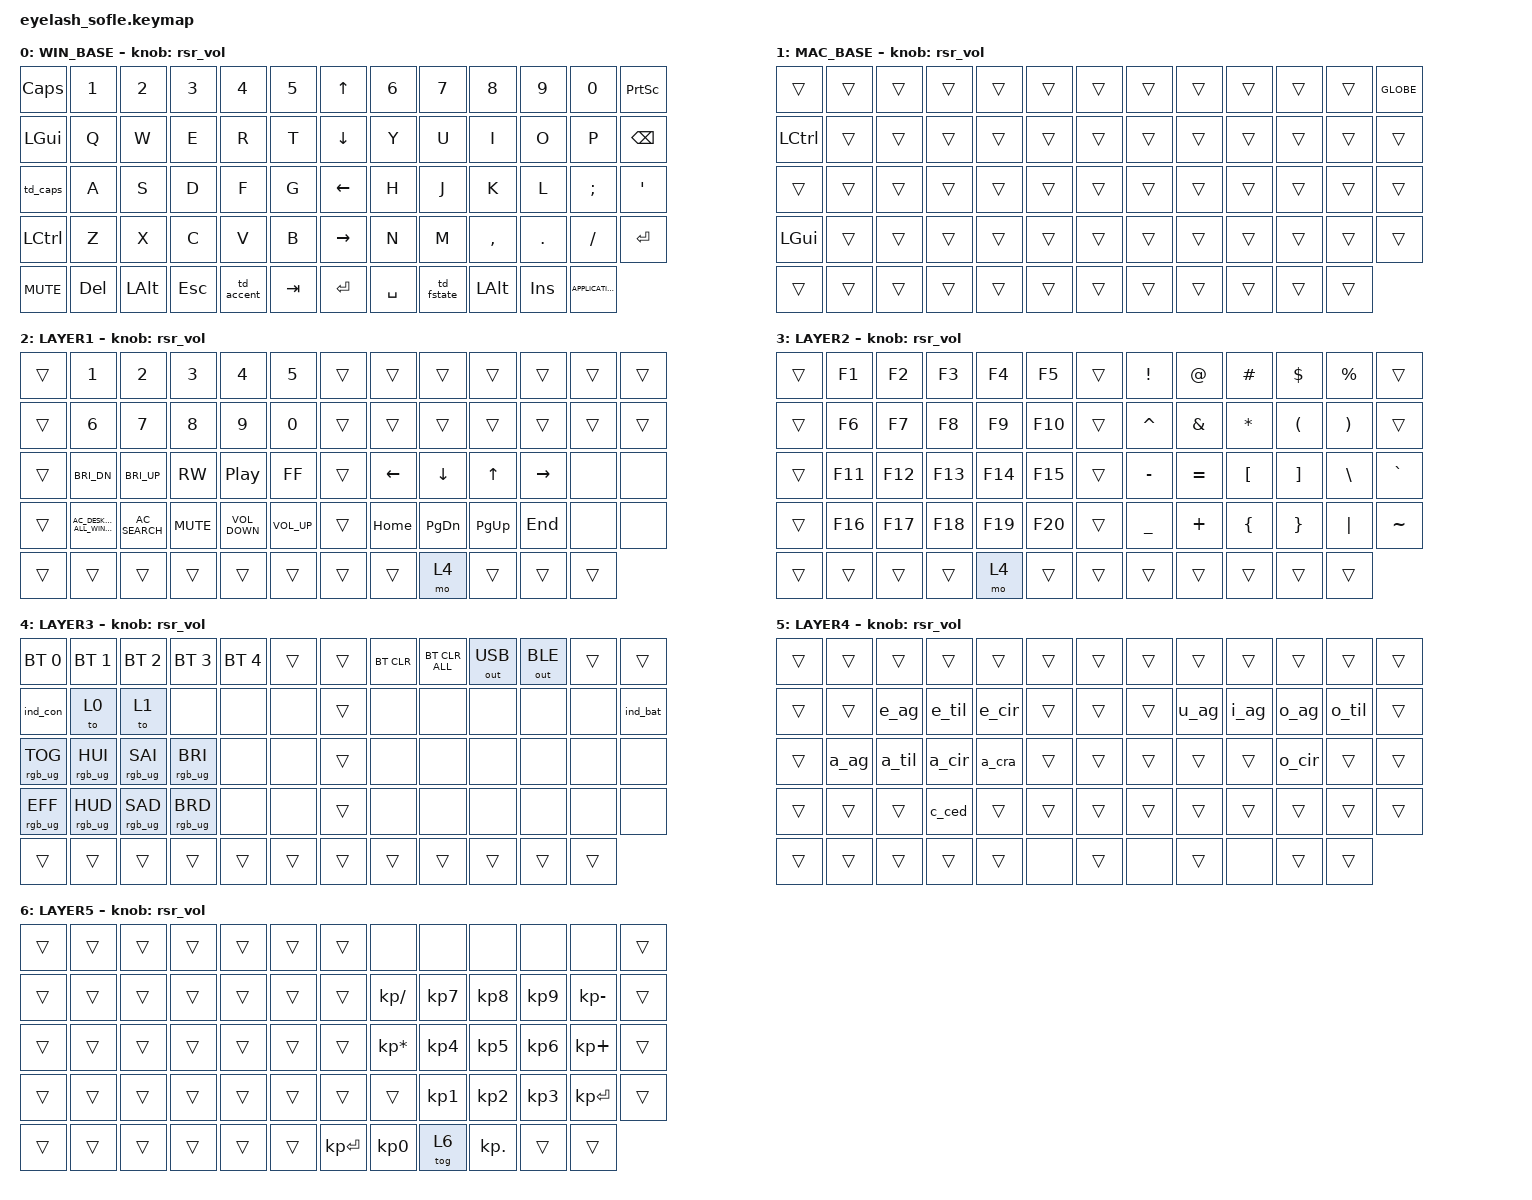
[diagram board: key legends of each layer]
#define ZMK_POINTING_DEFAULT_MOVE_VAL 1200  // 600
#define ZMK_POINTING_DEFAULT_SCRL_VAL 25   // 10

#include <input/processors.dtsi>
#include <zephyr/dt-bindings/input/input-event-codes.h>
#include <behaviors.dtsi>
#include <behaviors/runtime-sensor-rotate.dtsi>
#include <dt-bindings/zmk/bt.h>
#include <dt-bindings/zmk/keys.h>
#include <dt-bindings/zmk/outputs.h>
#include <dt-bindings/zmk/pointing.h>
#include <dt-bindings/zmk/rgb.h>
#include <behaviors/rgbled_widget.dtsi>

&mmv_input_listener { input-processors = <&zip_xy_scaler 2 1>; };
&msc_input_listener { input-processors = <&zip_scroll_scaler 2 1>; };

&msc {
    acceleration-exponent = <1>;      // 0
    time-to-max-speed-ms = <100>;     // 300
    delay-ms = <0>;                   // 0
};

&mmv {
    time-to-max-speed-ms = <500>;
    acceleration-exponent = <1>;
    trigger-period-ms = <16>;
};

&soft_off { hold-time-ms = <2000>; };

&sk {
    release-after-ms = <300>;
    quick-release;
    /delete-property/ ignore-modifiers;
};

/ {
    scroll_encoder: scroll_encoder {
        compatible = "zmk,behavior-sensor-rotate";
        #sensor-binding-cells = <0>;
        bindings = <&msc SCRL_DOWN>, <&msc SCRL_UP>;
        tap-ms = <100>;
    };

    behaviors {
        rsr_vol: rsr_vol {
            compatible = "zmk,behavior-runtime-sensor-rotate";
            #sensor-binding-cells = <0>;
            tap-ms = <5>;
            cw-binding = <&kp C_VOL_UP>;
            ccw-binding = <&kp C_VOL_DN>;
        };

        rsr_trans: rsr_trans {
            compatible = "zmk,behavior-runtime-sensor-rotate";
            #sensor-binding-cells = <0>;
            tap-ms = <0>;
        };

        // Custom tap-dances
        td_caps: td_caps {
            compatible = "zmk,behavior-tap-dance";
            #binding-cells = <0>;
            tapping-term-ms = <200>;
            bindings = <&sk LSHIFT>, <&caps_word>;
        };

        td_accent: td_accent {
            compatible = "zmk,behavior-tap-dance";
            #binding-cells = <0>;
            tapping-term-ms = <300>;
            bindings = <&mo 2>, <&sl 5>;
        };

        td_fstate: td_fstate {
            compatible = "zmk,behavior-tap-dance";
            #binding-cells = <0>;
            tapping-term-ms = <200>;
            bindings = <&mo 3>, <&tog 6>;
        };

        // Custom mod-morphs for accents
        a_ag: a_ag {
            compatible = "zmk,behavior-mod-morph";
            #binding-cells = <0>;
            bindings = <&macro_a_ag_lower>, <&macro_a_ag_upper>;
            mods = <(MOD_LSFT|MOD_RSFT)>;
        };
        a_til: a_til {
            compatible = "zmk,behavior-mod-morph";
            #binding-cells = <0>;
            bindings = <&macro_a_til_lower>, <&macro_a_til_upper>;
            mods = <(MOD_LSFT|MOD_RSFT)>;
        };
        a_cir: a_cir {
            compatible = "zmk,behavior-mod-morph";
            #binding-cells = <0>;
            bindings = <&macro_a_cir_lower>, <&macro_a_cir_upper>;
            mods = <(MOD_LSFT|MOD_RSFT)>;
        };
        a_cra: a_cra {
            compatible = "zmk,behavior-mod-morph";
            #binding-cells = <0>;
            bindings = <&macro_a_cra_lower>, <&macro_a_cra_upper>;
            mods = <(MOD_LSFT|MOD_RSFT)>;
        };
        e_ag: e_ag {
            compatible = "zmk,behavior-mod-morph";
            #binding-cells = <0>;
            bindings = <&macro_e_ag_lower>, <&macro_e_ag_upper>;
            mods = <(MOD_LSFT|MOD_RSFT)>;
        };
        e_til: e_til {
            compatible = "zmk,behavior-mod-morph";
            #binding-cells = <0>;
            bindings = <&macro_e_til_lower>, <&macro_e_til_upper>;
            mods = <(MOD_LSFT|MOD_RSFT)>;
        };
        e_cir: e_cir {
            compatible = "zmk,behavior-mod-morph";
            #binding-cells = <0>;
            bindings = <&macro_e_cir_lower>, <&macro_e_cir_upper>;
            mods = <(MOD_LSFT|MOD_RSFT)>;
        };
        o_ag: o_ag {
            compatible = "zmk,behavior-mod-morph";
            #binding-cells = <0>;
            bindings = <&macro_o_ag_lower>, <&macro_o_ag_upper>;
            mods = <(MOD_LSFT|MOD_RSFT)>;
        };
        o_til: o_til {
            compatible = "zmk,behavior-mod-morph";
            #binding-cells = <0>;
            bindings = <&macro_o_til_lower>, <&macro_o_til_upper>;
            mods = <(MOD_LSFT|MOD_RSFT)>;
        };
        o_cir: o_cir {
            compatible = "zmk,behavior-mod-morph";
            #binding-cells = <0>;
            bindings = <&macro_o_cir_lower>, <&macro_o_cir_upper>;
            mods = <(MOD_LSFT|MOD_RSFT)>;
        };
        u_ag: u_ag {
            compatible = "zmk,behavior-mod-morph";
            #binding-cells = <0>;
            bindings = <&macro_u_ag_lower>, <&macro_u_ag_upper>;
            mods = <(MOD_LSFT|MOD_RSFT)>;
        };
        i_ag: i_ag {
            compatible = "zmk,behavior-mod-morph";
            #binding-cells = <0>;
            bindings = <&macro_i_ag_lower>, <&macro_i_ag_upper>;
            mods = <(MOD_LSFT|MOD_RSFT)>;
        };
        c_ced: c_ced {
            compatible = "zmk,behavior-mod-morph";
            #binding-cells = <0>;
            bindings = <&macro_c_ced_lower>, <&macro_c_ced_upper>;
            mods = <(MOD_LSFT|MOD_RSFT)>;
        };

        win_copy_paste: win_copy_paste {
            compatible = "zmk,behavior-mod-morph";
            #binding-cells = <0>;
            bindings = <&macro_win_copy>, <&macro_win_paste>;
            mods = <(MOD_LSFT|MOD_RSFT)>;
        };

        mac_copy_paste: mac_copy_paste {
            compatible = "zmk,behavior-mod-morph";
            #binding-cells = <0>;
            bindings = <&macro_mac_copy>, <&macro_mac_paste>;
            mods = <(MOD_LSFT|MOD_RSFT)>;
        };
    };

    combos {
        compatible = "zmk,combos";

        softoff {
            bindings = <&soft_off>;
            key-positions = <14 28 40>;
        };
    };

    macros {

        // Custom accent macros (lower and upper)
        macro_a_ag_lower: macro_a_ag_lower {
            compatible = "zmk,behavior-macro";
            #binding-cells = <0>;
            bindings = <&macro_release &kp LSHFT &kp RSHFT>, <&macro_tap &kp APOS &kp A>;
        };
        macro_a_ag_upper: macro_a_ag_upper {
            compatible = "zmk,behavior-macro";
            #binding-cells = <0>;
            bindings = <&macro_release &kp LSHFT &kp RSHFT>, <&macro_tap &kp APOS &kp LS(A)>;
        };

        macro_a_til_lower: macro_a_til_lower {
            compatible = "zmk,behavior-macro";
            #binding-cells = <0>;
            bindings = <&macro_release &kp LSHFT &kp RSHFT>, <&macro_tap &kp TILDE &kp A>;
        };
        macro_a_til_upper: macro_a_til_upper {
            compatible = "zmk,behavior-macro";
            #binding-cells = <0>;
            bindings = <&macro_release &kp LSHFT &kp RSHFT>, <&macro_tap &kp TILDE &kp LS(A)>;
        };

        macro_a_cir_lower: macro_a_cir_lower {
            compatible = "zmk,behavior-macro";
            #binding-cells = <0>;
            bindings = <&macro_release &kp LSHFT &kp RSHFT>, <&macro_tap &kp LS(N6) &kp A>;
        };
        macro_a_cir_upper: macro_a_cir_upper {
            compatible = "zmk,behavior-macro";
            #binding-cells = <0>;
            bindings = <&macro_release &kp LSHFT &kp RSHFT>, <&macro_tap &kp LS(N6) &kp LS(A)>;
        };

        macro_a_cra_lower: macro_a_cra_lower {
            compatible = "zmk,behavior-macro";
            #binding-cells = <0>;
            bindings = <&macro_release &kp LSHFT &kp RSHFT>, <&macro_tap &kp GRAVE &kp A>;
        };
        macro_a_cra_upper: macro_a_cra_upper {
            compatible = "zmk,behavior-macro";
            #binding-cells = <0>;
            bindings = <&macro_release &kp LSHFT &kp RSHFT>, <&macro_tap &kp GRAVE &kp LS(A)>;
        };

        macro_e_ag_lower: macro_e_ag_lower {
            compatible = "zmk,behavior-macro";
            #binding-cells = <0>;
            bindings = <&macro_release &kp LSHFT &kp RSHFT>, <&macro_tap &kp APOS &kp E>;
        };
        macro_e_ag_upper: macro_e_ag_upper {
            compatible = "zmk,behavior-macro";
            #binding-cells = <0>;
            bindings = <&macro_release &kp LSHFT &kp RSHFT>, <&macro_tap &kp APOS &kp LS(E)>;
        };

        macro_e_til_lower: macro_e_til_lower {
            compatible = "zmk,behavior-macro";
            #binding-cells = <0>;
            bindings = <&macro_release &kp LSHFT &kp RSHFT>, <&macro_tap &kp TILDE &kp E>;
        };
        macro_e_til_upper: macro_e_til_upper {
            compatible = "zmk,behavior-macro";
            #binding-cells = <0>;
            bindings = <&macro_release &kp LSHFT &kp RSHFT>, <&macro_tap &kp TILDE &kp LS(E)>;
        };

        macro_e_cir_lower: macro_e_cir_lower {
            compatible = "zmk,behavior-macro";
            #binding-cells = <0>;
            bindings = <&macro_release &kp LSHFT &kp RSHFT>, <&macro_tap &kp LS(N6) &kp E>;
        };
        macro_e_cir_upper: macro_e_cir_upper {
            compatible = "zmk,behavior-macro";
            #binding-cells = <0>;
            bindings = <&macro_release &kp LSHFT &kp RSHFT>, <&macro_tap &kp LS(N6) &kp LS(E)>;
        };

        macro_o_ag_lower: macro_o_ag_lower {
            compatible = "zmk,behavior-macro";
            #binding-cells = <0>;
            bindings = <&macro_release &kp LSHFT &kp RSHFT>, <&macro_tap &kp APOS &kp O>;
        };
        macro_o_ag_upper: macro_o_ag_upper {
            compatible = "zmk,behavior-macro";
            #binding-cells = <0>;
            bindings = <&macro_release &kp LSHFT &kp RSHFT>, <&macro_tap &kp APOS &kp LS(O)>;
        };

        macro_o_til_lower: macro_o_til_lower {
            compatible = "zmk,behavior-macro";
            #binding-cells = <0>;
            bindings = <&macro_release &kp LSHFT &kp RSHFT>, <&macro_tap &kp TILDE &kp O>;
        };
        macro_o_til_upper: macro_o_til_upper {
            compatible = "zmk,behavior-macro";
            #binding-cells = <0>;
            bindings = <&macro_release &kp LSHFT &kp RSHFT>, <&macro_tap &kp TILDE &kp LS(O)>;
        };

        macro_o_cir_lower: macro_o_cir_lower {
            compatible = "zmk,behavior-macro";
            #binding-cells = <0>;
            bindings = <&macro_release &kp LSHFT &kp RSHFT>, <&macro_tap &kp LS(N6) &kp O>;
        };
        macro_o_cir_upper: macro_o_cir_upper {
            compatible = "zmk,behavior-macro";
            #binding-cells = <0>;
            bindings = <&macro_release &kp LSHFT &kp RSHFT>, <&macro_tap &kp LS(N6) &kp LS(O)>;
        };

        macro_u_ag_lower: macro_u_ag_lower {
            compatible = "zmk,behavior-macro";
            #binding-cells = <0>;
            bindings = <&macro_release &kp LSHFT &kp RSHFT>, <&macro_tap &kp APOS &kp U>;
        };
        macro_u_ag_upper: macro_u_ag_upper {
            compatible = "zmk,behavior-macro";
            #binding-cells = <0>;
            bindings = <&macro_release &kp LSHFT &kp RSHFT>, <&macro_tap &kp APOS &kp LS(U)>;
        };

        macro_i_ag_lower: macro_i_ag_lower {
            compatible = "zmk,behavior-macro";
            #binding-cells = <0>;
            bindings = <&macro_release &kp LSHFT &kp RSHFT>, <&macro_tap &kp APOS &kp I>;
        };
        macro_i_ag_upper: macro_i_ag_upper {
            compatible = "zmk,behavior-macro";
            #binding-cells = <0>;
            bindings = <&macro_release &kp LSHFT &kp RSHFT>, <&macro_tap &kp APOS &kp LS(I)>;
        };

        macro_c_ced_lower: macro_c_ced_lower {
            compatible = "zmk,behavior-macro";
            #binding-cells = <0>;
            bindings = <&macro_release &kp LSHFT &kp RSHFT>, <&macro_tap &kp APOS &kp C>;
        };
        macro_c_ced_upper: macro_c_ced_upper {
            compatible = "zmk,behavior-macro";
            #binding-cells = <0>;
            bindings = <&macro_release &kp LSHFT &kp RSHFT>, <&macro_tap &kp APOS &kp LS(C)>;
        };

        macro_win_copy: macro_win_copy {
            compatible = "zmk,behavior-macro";
            #binding-cells = <0>;
            bindings = <&macro_press &kp LCTRL>, <&macro_tap &kp C>, <&macro_release &kp LCTRL>;
        };

        macro_win_paste: macro_win_paste {
            compatible = "zmk,behavior-macro";
            #binding-cells = <0>;
            bindings = <&macro_release &kp LSHFT &kp RSHFT>, <&macro_press &kp LCTRL>, <&macro_tap &kp V>, <&macro_release &kp LCTRL>;
        };

        macro_mac_copy: macro_mac_copy {
            compatible = "zmk,behavior-macro";
            #binding-cells = <0>;
            bindings = <&macro_press &kp LGUI>, <&macro_tap &kp C>, <&macro_release &kp LGUI>;
        };

        macro_mac_paste: macro_mac_paste {
            compatible = "zmk,behavior-macro";
            #binding-cells = <0>;
            bindings = <&macro_release &kp LSHFT &kp RSHFT>, <&macro_press &kp LGUI>, <&macro_tap &kp V>, <&macro_release &kp LGUI>;
        };
    };

    keymap {
        compatible = "zmk,keymap";
        layer0 {
            bindings = <
            &kp CAPS    &kp N1   &kp N2        &kp N3   &kp N4      &kp N5   &kp UP_ARROW     &kp N6     &kp N7      &kp N8        &kp N9      &kp N0             &kp PRINTSCREEN
            &kp LGUI    &kp Q    &kp W         &kp E    &kp R       &kp T    &kp DOWN_ARROW   &kp Y      &kp U       &kp I         &kp O       &kp P              &kp BSPC       
            &td_caps    &kp A    &kp S         &kp D    &kp F       &kp G    &kp LEFT_ARROW   &kp H      &kp J       &kp K         &kp L       &kp SEMI           &kp APOS       
            &kp LCTRL   &kp Z    &kp X         &kp C    &kp V       &kp B    &kp RIGHT_ARROW  &kp N      &kp M       &kp COMMA     &kp DOT     &kp FSLH           &kp ENTER      
            &kp C_MUTE  &kp DEL  &kp LEFT_ALT  &kp ESC  &td_accent  &kp TAB  &kp ENTER        &kp SPACE  &td_fstate  &kp LEFT_ALT  &kp INSERT  &kp K_APPLICATION
        >;

            sensor-bindings = <&rsr_vol>;
            display-name = "WIN_BASE";
        };
        layer_1 {
            bindings = <
            &trans     &trans  &trans  &trans  &trans  &trans  &trans  &trans  &trans  &trans  &trans  &trans  &kp GLOBE
            &kp LCTRL  &trans  &trans  &trans  &trans  &trans  &trans  &trans  &trans  &trans  &trans  &trans  &trans
            &trans     &trans  &trans  &trans  &trans  &trans  &trans  &trans  &trans  &trans  &trans  &trans  &trans
            &kp LGUI   &trans  &trans  &trans  &trans  &trans  &trans  &trans  &trans  &trans  &trans  &trans  &trans
            &trans     &trans  &trans  &trans  &trans  &trans  &trans  &trans  &trans  &trans  &trans  &trans
        >;

            sensor-bindings = <&rsr_vol>;
            display-name = "MAC_BASE";
        };
        layer_2 {
            bindings = <
            &trans  &kp N1  &kp N2  &kp N3  &kp N4  &kp N5  &trans  &trans    &trans     &trans     &trans     &trans  &trans
            &trans  &kp N6  &kp N7  &kp N8  &kp N9  &kp N0  &trans  &trans    &trans     &trans     &trans     &trans  &trans
            &trans  &kp C_BRI_DN  &kp C_BRI_UP  &kp C_RW   &kp C_PP    &kp C_FF   &trans  &kp LEFT  &kp DOWN   &kp UP     &kp RIGHT  &none   &none 
            &trans &kp C_AC_DESKTOP_SHOW_ALL_WINDOWS   &kp C_AC_SEARCH  &kp C_MUTE   &kp C_VOLUME_DOWN   &kp C_VOLUME_UP   &trans  &kp HOME  &kp PG_DN  &kp PG_UP  &kp END    &none   &none 
            &trans  &trans  &trans  &trans  &trans  &trans  &trans  &trans    &mo 4      &trans     &trans     &trans
        >;

            sensor-bindings = <&rsr_vol>;
            display-name = "LAYER1";
        };
        layer_3 {
            bindings = <
           &trans &kp F1  &kp F2  &kp F3  &kp F4   &kp F5     &trans  &kp EXCL   &kp AT     &kp HASH   &kp DLLR  &kp PRCNT  &trans   
           &trans &kp F6  &kp F7  &kp F8  &kp F9  &kp F10    &trans  &kp CARET  &kp AMPS   &kp ASTRK  &kp LPAR  &kp RPAR   &trans   
           &trans &kp F11 &kp F12 &kp F13 &kp F14  &kp F15    &trans  &kp MINUS  &kp EQUAL  &kp LBKT   &kp RBKT  &kp BSLH   &kp GRAVE
           &trans &kp F16 &kp F17 &kp F18 &kp F19  &kp F20    &trans  &kp UNDER  &kp PLUS   &kp LBRC   &kp RBRC  &kp PIPE   &kp TILDE
            &trans  &trans  &trans  &trans   &mo 4    &trans   &trans  &trans     &trans     &trans     &trans    &trans   
        >;

            sensor-bindings = <&rsr_vol>;
            display-name = "LAYER2";
        };
        layer_4 {
            bindings = <
            &bt BT_SEL 0     &bt BT_SEL 1     &bt BT_SEL 2     &bt BT_SEL 3  &bt BT_SEL 4 &trans &trans  &bt BT_CLR  &bt BT_CLR_ALL  &out OUT_USB  &out OUT_BLE  &trans  &trans
            &ind_con      &to 0            &to 1            &none            &none         &none         &trans  &none       &none           &none         &none      &none   &ind_bat 
            &rgb_ug RGB_TOG  &rgb_ug RGB_HUI  &rgb_ug RGB_SAI  &rgb_ug RGB_BRI  &none         &none         &trans  &none       &none           &none         &none         &none   &none 
            &rgb_ug RGB_EFF  &rgb_ug RGB_HUD  &rgb_ug RGB_SAD  &rgb_ug RGB_BRD  &none         &none         &trans  &none       &none           &none         &none         &none   &none 
            &trans           &trans           &trans           &trans           &trans        &trans        &trans  &trans      &trans          &trans        &trans        &trans
        >;

            sensor-bindings = <&rsr_vol>;
            display-name = "LAYER3";
        };
        layer_5 {
            bindings = <
            &trans           &trans  &trans  &trans  &trans  &trans  &trans  &trans  &trans  &trans  &trans  &trans  &trans
            &trans  &trans  &e_ag   &e_til  &e_cir  &trans  &trans  &trans  &u_ag   &i_ag   &o_ag   &o_til  &trans
            &trans           &a_ag   &a_til  &a_cir  &a_cra  &trans  &trans  &trans  &trans  &trans  &o_cir  &trans  &trans
            &trans           &trans  &trans  &c_ced  &trans  &trans  &trans  &trans  &trans  &trans  &trans  &trans  &trans
            &trans           &trans  &trans  &trans  &trans  &none   &trans  &none   &trans  &none   &trans  &trans
        >;

            sensor-bindings = <&rsr_vol>;
            display-name = "LAYER4";
        };
        layer_6 {
            bindings = <
            &trans  &trans  &trans  &trans  &trans  &trans  &trans        &none           &none    &none      &none     &none           &trans  
            &trans  &trans  &trans  &trans  &trans  &trans  &trans        &kp KP_DIVIDE    &kp KP_N7  &kp KP_N8   &kp KP_N9  &kp KP_SUBTRACT  &trans
            &trans  &trans  &trans  &trans  &trans  &trans  &trans        &kp KP_MULTIPLY  &kp KP_N4  &kp KP_N5   &kp KP_N6  &kp KP_PLUS      &trans  
            &trans  &trans  &trans  &trans  &trans  &trans  &trans        &trans           &kp KP_N1  &kp KP_N2   &kp KP_N3  &kp KP_ENTER     &trans  
            &trans  &trans  &trans  &trans  &trans  &trans  &kp KP_ENTER  &kp KP_N0        &tog 6     &kp KP_DOT  &trans     &trans         
        >;

            sensor-bindings = <&rsr_vol>;
            display-name = "LAYER5";
        };
    };
};
